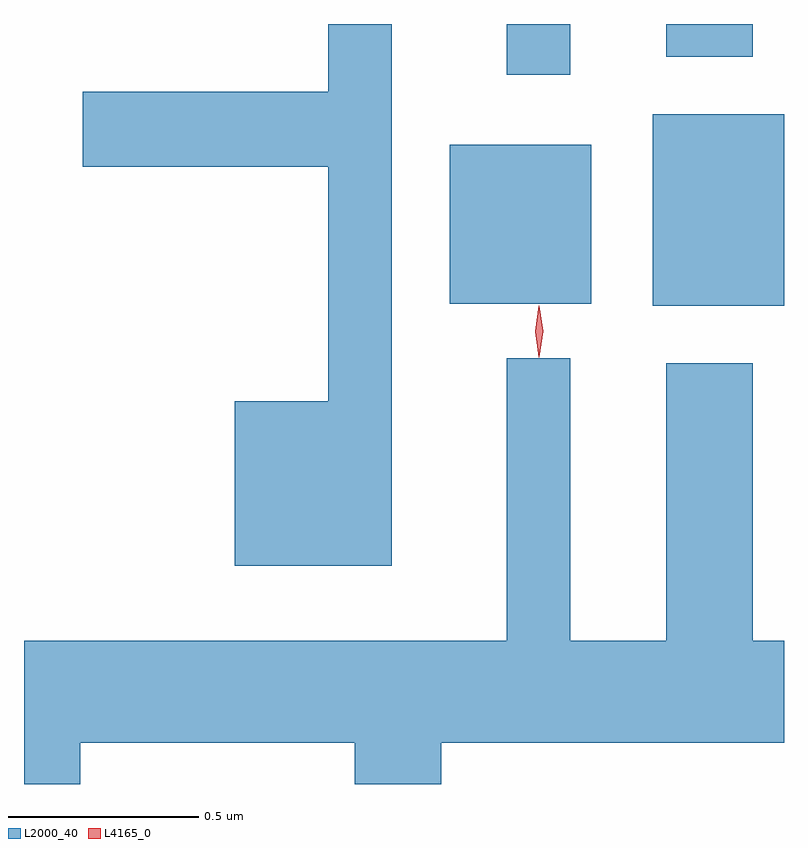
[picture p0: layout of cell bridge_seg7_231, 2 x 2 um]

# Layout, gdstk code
import gdstk
lib = gdstk.Library(unit=1e-6, precision=1e-09)
def R(c, l, rs):  # rectangles x0, y0, x1, y1
    for r in rs: c.add(gdstk.rectangle(r[:2], r[2:], *l))
def P(c, l, *ps):  # polygons
    for p in ps: c.add(gdstk.Polygon(p, *l))
L2000_40 = (2000, 40)
L4165_0 = (4165, 0)

bridge_seg7_231 = lib.new_cell('bridge_seg7_231')
R(bridge_seg7_231, L2000_40, [(1876.586,1675.506,1876.931,1676.009), (1876.051,1675.511,1876.424,1675.929), (1876.201,1676.113,1876.369,1676.247), (1876.621,1676.161,1876.849,1676.247)])
P(bridge_seg7_231, L2000_40, [(1875.899,1676.247),(1875.731,1676.247),(1875.731,1676.069),(1875.086,1676.069),(1875.086,1675.871),(1875.731,1675.871),(1875.731,1675.254),(1875.486,1675.254),(1875.486,1674.821),(1875.899,1674.821)],
  [(1875.079,1674.356),(1875.801,1674.356),(1875.801,1674.247),(1876.029,1674.247),(1876.029,1674.356),(1876.931,1674.356),(1876.931,1674.624),(1876.849,1674.624),(1876.849,1675.354),(1876.621,1675.354),(1876.621,1674.624),(1876.369,1674.624),(1876.369,1675.368),(1876.201,1675.368),(1876.201,1674.624),(1874.931,1674.624),(1874.931,1674.247),(1875.079,1674.247)])
P(bridge_seg7_231, L4165_0, [(1876.286,1675.37),(1876.277,1675.438),(1876.286,1675.506),(1876.287,1675.506),(1876.287,1675.506),(1876.297,1675.438),(1876.287,1675.37),(1876.287,1675.37)],
  [(1876.286,1675.373),(1876.286,1675.373),(1876.276,1675.437),(1876.286,1675.502),(1876.286,1675.502),(1876.287,1675.502),(1876.296,1675.437),(1876.287,1675.373)])

lib.write_gds('bridge_seg7_231.gds')
